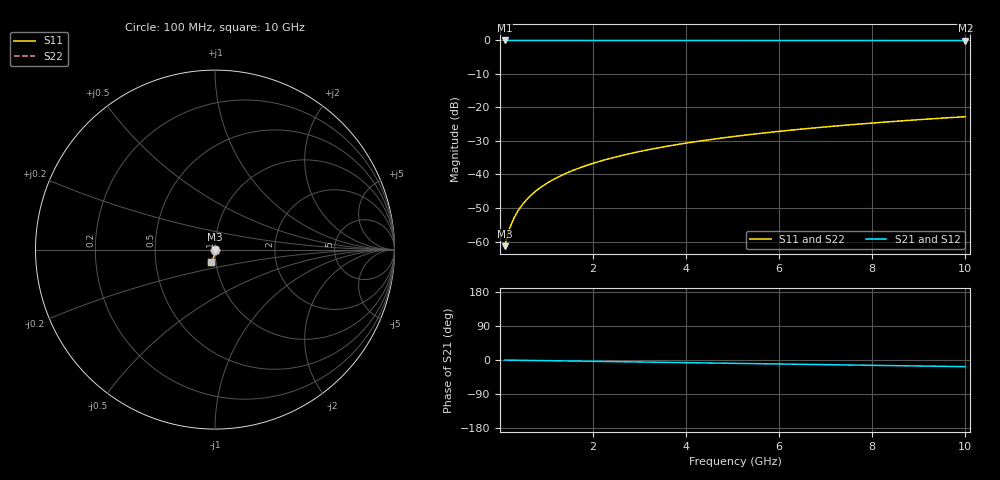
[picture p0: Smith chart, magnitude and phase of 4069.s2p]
# Hz S RI R 50.00
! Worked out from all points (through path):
!   100 points, 100 MHz to 10 GHz, reference 50 ohm
!   highest |S21| = 0.00 dB at 100 MHz (marker M1); lowest = 0.0 dB at 10 GHz (marker M2)
!   group delay of S21, straight-line fit = 4.88 ps
!   lowest |S11| = -61.4 dB at 100 MHz (marker M3), VSWR 1.00, Z = 50 - j0.0734 ohm
!   |S11| at or under -10 dB: start of sweep to end of sweep
!   |S22| runs from -61.4 to -22.8 dB; largest |S21 - S12| = 0
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1e8  0.000433 -0.000734  0.9996 -0.00304  0.9996 -0.00304  0.000433 -0.000734
2e8  0.000428 -0.00147  0.9995 -0.00608  0.9995 -0.00608  0.000428 -0.00147
3e8  0.000417 -0.0022  0.9995 -0.00912  0.9995 -0.00912  0.000417 -0.0022
4e8  0.000401 -0.00293  0.9995 -0.0122  0.9995 -0.0122  0.000401 -0.00293
5e8  0.000381 -0.00367  0.9994 -0.0152  0.9994 -0.0152  0.000381 -0.00367
6e8  0.000356 -0.0044  0.9994 -0.0182  0.9994 -0.0182  0.000356 -0.0044
7e8  0.000327 -0.00514  0.9993 -0.0213  0.9993 -0.0213  0.000327 -0.00514
8e8  0.000292 -0.00587  0.9992 -0.0243  0.9992 -0.0243  0.000292 -0.00587
9e8  0.000254 -0.0066  0.9991 -0.0274  0.9991 -0.0274  0.000254 -0.0066
1.1e9  0.000163 -0.00807  0.9989 -0.0335  0.9989 -0.0335  0.000163 -0.00807
1.4e9  -7.3e-06 -0.0103  0.9986 -0.0426  0.9986 -0.0426  -7.3e-06 -0.0103
1.8e9  -0.000297 -0.0132  0.9979 -0.0548  0.9979 -0.0548  -0.000297 -0.0132
2.1e9  -0.000562 -0.0154  0.9973 -0.0639  0.9973 -0.0639  -0.000562 -0.0154
2.5e9  -0.000978 -0.0183  0.9964 -0.076  0.9964 -0.076  -0.000978 -0.0183
2.9e9  -0.00147 -0.0212  0.9954 -0.0882  0.9954 -0.0882  -0.00147 -0.0212
3.4e9  -0.00218 -0.0249  0.9938 -0.1034  0.9938 -0.1034  -0.00218 -0.0249
4.2e9  -0.00354 -0.0306  0.9908 -0.1277  0.9908 -0.1277  -0.00354 -0.0306
5.1e9  -0.00542 -0.037  0.9866 -0.1549  0.9866 -0.1549  -0.00542 -0.037
5.9e9  -0.00739 -0.0427  0.9823 -0.1791  0.9823 -0.1791  -0.00739 -0.0427
6.7e9  -0.00964 -0.0482  0.9773 -0.2031  0.9773 -0.2031  -0.00964 -0.0482
8.4e9  -0.0153 -0.0595  0.9646 -0.2539  0.9646 -0.2539  -0.0153 -0.0595
1e10  -0.0217 -0.0695  0.9501 -0.301  0.9501 -0.301  -0.0217 -0.0695
